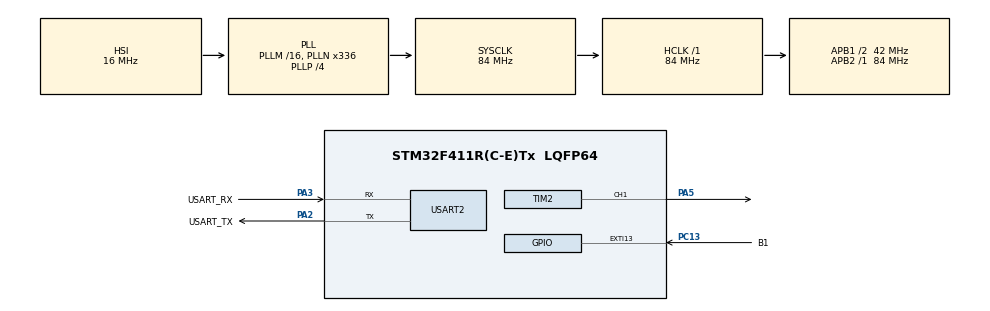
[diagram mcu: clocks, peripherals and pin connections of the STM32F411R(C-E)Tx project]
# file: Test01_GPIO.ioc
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Mcu.Family=STM32F4
Mcu.Name=STM32F411R(C-E)Tx
Mcu.Package=LQFP64
NVIC.EXTI15_10_IRQn=true\:0\:0\:false\:false\:true\:true\:true\:true
NVIC.PriorityGroup=NVIC_PRIORITYGROUP_0
NVIC.TIM3_IRQn=true\:0\:0\:false\:false\:true\:true\:true\:true
PA13.GPIO_Label=TMS
PA13.Mode=Serial_Wire
PA13.Signal=SYS_JTMS-SWDIO
PA14.GPIO_Label=TCK
PA14.Mode=Serial_Wire
PA14.Signal=SYS_JTCK-SWCLK
PA2.GPIO_Label=USART_TX
PA2.Mode=Asynchronous
PA2.Signal=USART2_TX
PA3.GPIO_Label=USART_RX
PA3.Mode=Asynchronous
PA3.Signal=USART2_RX
PA5.Signal=S_TIM2_CH1_ETR
PB3.GPIO_Label=SWO
PB3.Signal=SYS_JTDO-SWO
PC13-ANTI_TAMP.GPIO_Label=B1
PC13-ANTI_TAMP.GPIO_ModeDefaultEXTI=GPIO_MODE_IT_RISING_FALLING
PC13-ANTI_TAMP.Signal=GPXTI13
PC14-OSC32_IN.Mode=LSE-External-Oscillator
PC14-OSC32_IN.Signal=RCC_OSC32_IN
PC15-OSC32_OUT.Mode=LSE-External-Oscillator
PC15-OSC32_OUT.Signal=RCC_OSC32_OUT
PH0\ -\ OSC_IN.Mode=HSE-External-Clock-Source
PH0\ -\ OSC_IN.Signal=RCC_OSC_IN
PH1\ -\ OSC_OUT.Mode=HSE-External-Clock-Source
PH1\ -\ OSC_OUT.Signal=RCC_OSC_OUT
ProjectManager.HeapSize=0x200
ProjectManager.StackSize=0x400
ProjectManager.TargetToolchain=STM32CubeIDE
RCC.48MHZClocksFreq_Value=84000000
RCC.AHBFreq_Value=84000000
RCC.APB1CLKDivider=RCC_HCLK_DIV2
RCC.APB1Freq_Value=42000000
RCC.APB1TimFreq_Value=84000000
RCC.APB2Freq_Value=84000000
RCC.APB2TimFreq_Value=84000000
RCC.CortexFreq_Value=84000000
RCC.FLatency-AdvancedSettings=FLASH_LATENCY_2
RCC.HCLKFreq_Value=84000000
RCC.HSE_VALUE=8000000
RCC.HSI_VALUE=16000000
RCC.PLLN=336
RCC.PLLP=RCC_PLLP_DIV4
RCC.SYSCLKFreq_VALUE=84000000
RCC.SYSCLKSource=RCC_SYSCLKSOURCE_PLLCLK
RCC.VCOOutputFreq_Value=336000000
SH.S_TIM2_CH1_ETR.0=TIM2_CH1,PWM Generation1 CH1
TIM2.Channel-PWM\ Generation1\ CH1=TIM_CHANNEL_1
TIM2.Period=1000-1
TIM2.Prescaler=84-1
TIM3.Period=5000-1
TIM3.Prescaler=8400-1
TIM5.Prescaler=84-1
USART2.VirtualMode=VM_ASYNC
VP_TIM2_VS_ClockSourceINT.Mode=Internal
VP_TIM3_VS_ClockSourceINT.Mode=Internal
VP_TIM5_VS_ClockSourceINT.Mode=Internal
board=NUCLEO-F411RE

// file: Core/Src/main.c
/* USER CODE BEGIN Header */
/**
  ******************************************************************************
  * @file           : main.c
  * @brief          : Main program body
  ******************************************************************************
  * @attention
  *
  * Copyright (c) 2023 STMicroelectronics.
  * All rights reserved.
  *
  * This software is licensed under terms that can be found in the LICENSE file
  * in the root directory of this software component.
  * If no LICENSE file comes with this software, it is provided AS-IS.
  *
  ******************************************************************************
  */
/* USER CODE END Header */
#include "main.h"

TIM_HandleTypeDef htim2;
TIM_HandleTypeDef htim3;
TIM_HandleTypeDef htim5;

UART_HandleTypeDef huart2;

void SystemClock_Config(void);
static void MX_GPIO_Init(void);
static void MX_USART2_UART_Init(void);
static void MX_TIM3_Init(void);
static void MX_TIM5_Init(void);
static void MX_TIM2_Init(void);

/* USER CODE BEGIN 0 */
int val = 0;
int flag = 1;
int gap = 0; //gap is value about val that account ARR
#define STEP 10
void HAL_GPIO_EXTI_Callback(uint16_t GPIO_Pin)
{
	//val = HAL_GPIO_ReadPin(B1_GPIO_Port, B1_Pin);
	//if(val ==0) val=1; else val=0;
	//val = !val;
	//val++;//=	val += 1; //=	val = val+1;
	//if(val++>5) val=0;	//val 0~5
	//flag=1;
	if(val++ >STEP) val=0;
}
int cnt = 0;
void HAL_TIM_PeriodElapsedCallback(TIM_HandleTypeDef *htim)
{
//	HAL_GPIO_TogglePin(LD2_GPIO_Port, LD2_Pin);
//	HAL_Delay(1000);	//error
	printf("\033[10;30H Timer3...%d\n",cnt++);
}
void myDelay(int interval)//microsecond delay, interval:microsecond
{
//	volatile int start = htim5.Instance->CNT;
	htim5.Instance->CNT = 0;
	while(1)
	{
//		volatile int cur = htim5.Instance->CNT;
//		if(cur - start > interval) return;
//		if(htim5.Instance->CNT - start > interval) break;
		if(htim5.Instance->CNT > interval) return;
	}
}
int __io_putchar(int ch)
{
	HAL_UART_Transmit(&huart2, &ch, 1, 10);
	return ch;
}
//int __io_getchar(void)
/* USER CODE END 0 */

int main(void)
{

  /* MCU Configuration--------------------------------------------------------*/

  /* Reset of all peripherals, Initializes the Flash interface and the Systick. */
  HAL_Init();

  /* Configure the system clock */
  SystemClock_Config();

  /* Initialize all configured peripherals */
  MX_GPIO_Init();
  MX_USART2_UART_Init();
  MX_TIM3_Init();
  MX_TIM5_Init();
  MX_TIM2_Init();
  /* USER CODE BEGIN 2 */
//  HAL_TIM_Base_Start_IT(&htim3);
//  HAL_TIM_Base_Start_IT(&htim5);
  HAL_TIM_Base_Start(&htim5);
  printf("\033[10;20 H    Program started ......!\r\n",0x1b);
  HAL_TIM_PWM_Start(&htim2, TIM_CHANNEL_1);
  gap = htim2.Instance->ARR / STEP;
  /* USER CODE END 2 */

  /* Infinite loop */
  /* USER CODE BEGIN WHILE */
  int ccr = 0 ;
  while (1)
  {
    /* USER CODE END WHILE */

    /* USER CODE BEGIN 3 */
//	  int r = HAL_GPIO_ReadPin(BLUE_GPIO_Port, BLUE_Pin);
//	  if(r == 0)	//Button pushed
//	  if(val ==0)
//	  {
//		  HAL_GPIO_WritePin(LD2_GPIO_Port, LD2_Pin, 1);	//LED ON
//		  HAL_Delay(1000);								//delay 1 second
//		  HAL_GPIO_WritePin(LD2_GPIO_Port, LD2_Pin, 0);	//LED OFF
//		  HAL_Delay(1000);								//delay 1 second
//	  }
//	  if(flag == 1)
//	  {
//	  for(int i=0;i<val;i++)
//	  {
//		  HAL_GPIO_WritePin(LD2_GPIO_Port, LD2_Pin, 1);	//LED ON
//		  HAL_Delay(1000);								//delay 1 second
//		  HAL_GPIO_WritePin(LD2_GPIO_Port, LD2_Pin, 0);	//LED OFF
//		  HAL_Delay(1000);//delay 1 second
//		  flag = 0;
//	  }
//	  }
//	  if(val ==0)
//	  {
//	  //HAL_GPIO_WritePin(LD2_GPIO_Port, LD2_Pin, 1);	//LED ON
//		HAL_GPIO_TogglePin(LD2_GPIO_Port, LD2_Pin);
//		HAL_Delay(200);
//	  }
//	  else
//	  {
//	  HAL_GPIO_WritePin(LD2_GPIO_Port, LD2_Pin, 0);	//LED OFF
//	  }
////////////////////////////////////////////////////////////////////////////////////////////////////////////////
//	  myDelay(20000000);
//	  htim2.Instance->CCR1 = ccr++;
//	  if(ccr > htim2.Instance->ARR) ccr = 0;
//	  myDelay(10000);
	htim2.Instance->CCR1 = val * gap;
  }
  /* USER CODE END 3 */
}

void SystemClock_Config(void)
{
  RCC_OscInitTypeDef RCC_OscInitStruct = {0};
  RCC_ClkInitTypeDef RCC_ClkInitStruct = {0};

  /** Configure the main internal regulator output voltage
  */
  __HAL_RCC_PWR_CLK_ENABLE();
  __HAL_PWR_VOLTAGESCALING_CONFIG(PWR_REGULATOR_VOLTAGE_SCALE1);

  /** Initializes the RCC Oscillators according to the specified parameters
  * in the RCC_OscInitTypeDef structure.
  */
  RCC_OscInitStruct.OscillatorType = RCC_OSCILLATORTYPE_HSI;
  RCC_OscInitStruct.HSIState = RCC_HSI_ON;
  RCC_OscInitStruct.HSICalibrationValue = RCC_HSICALIBRATION_DEFAULT;
  RCC_OscInitStruct.PLL.PLLState = RCC_PLL_ON;
  RCC_OscInitStruct.PLL.PLLSource = RCC_PLLSOURCE_HSI;
  RCC_OscInitStruct.PLL.PLLM = 16;
  RCC_OscInitStruct.PLL.PLLN = 336;
  RCC_OscInitStruct.PLL.PLLP = RCC_PLLP_DIV4;
  RCC_OscInitStruct.PLL.PLLQ = 4;
  if (HAL_RCC_OscConfig(&RCC_OscInitStruct) != HAL_OK)
  {
    Error_Handler();
  }

  /** Initializes the CPU, AHB and APB buses clocks
  */
  RCC_ClkInitStruct.ClockType = RCC_CLOCKTYPE_HCLK|RCC_CLOCKTYPE_SYSCLK
                              |RCC_CLOCKTYPE_PCLK1|RCC_CLOCKTYPE_PCLK2;
  RCC_ClkInitStruct.SYSCLKSource = RCC_SYSCLKSOURCE_PLLCLK;
  RCC_ClkInitStruct.AHBCLKDivider = RCC_SYSCLK_DIV1;
  RCC_ClkInitStruct.APB1CLKDivider = RCC_HCLK_DIV2;
  RCC_ClkInitStruct.APB2CLKDivider = RCC_HCLK_DIV1;

  if (HAL_RCC_ClockConfig(&RCC_ClkInitStruct, FLASH_LATENCY_2) != HAL_OK)
  {
    Error_Handler();
  }
}

static void MX_TIM2_Init(void)
{

  TIM_ClockConfigTypeDef sClockSourceConfig = {0};
  TIM_MasterConfigTypeDef sMasterConfig = {0};
  TIM_OC_InitTypeDef sConfigOC = {0};

  htim2.Instance = TIM2;
  htim2.Init.Prescaler = 84-1;
  htim2.Init.CounterMode = TIM_COUNTERMODE_UP;
  htim2.Init.Period = 1000-1;
  htim2.Init.ClockDivision = TIM_CLOCKDIVISION_DIV1;
  htim2.Init.AutoReloadPreload = TIM_AUTORELOAD_PRELOAD_DISABLE;
  if (HAL_TIM_Base_Init(&htim2) != HAL_OK)
  {
    Error_Handler();
  }
  sClockSourceConfig.ClockSource = TIM_CLOCKSOURCE_INTERNAL;
  if (HAL_TIM_ConfigClockSource(&htim2, &sClockSourceConfig) != HAL_OK)
  {
    Error_Handler();
  }
  if (HAL_TIM_PWM_Init(&htim2) != HAL_OK)
  {
    Error_Handler();
  }
  sMasterConfig.MasterOutputTrigger = TIM_TRGO_RESET;
  sMasterConfig.MasterSlaveMode = TIM_MASTERSLAVEMODE_DISABLE;
  if (HAL_TIMEx_MasterConfigSynchronization(&htim2, &sMasterConfig) != HAL_OK)
  {
    Error_Handler();
  }
  sConfigOC.OCMode = TIM_OCMODE_PWM1;
  sConfigOC.Pulse = 0;
  sConfigOC.OCPolarity = TIM_OCPOLARITY_HIGH;
  sConfigOC.OCFastMode = TIM_OCFAST_DISABLE;
  if (HAL_TIM_PWM_ConfigChannel(&htim2, &sConfigOC, TIM_CHANNEL_1) != HAL_OK)
  {
    Error_Handler();
  }
  HAL_TIM_MspPostInit(&htim2);

}

static void MX_TIM3_Init(void)
{

  TIM_ClockConfigTypeDef sClockSourceConfig = {0};
  TIM_MasterConfigTypeDef sMasterConfig = {0};

  htim3.Instance = TIM3;
  htim3.Init.Prescaler = 8400-1;
  htim3.Init.CounterMode = TIM_COUNTERMODE_UP;
  htim3.Init.Period = 5000-1;
  htim3.Init.ClockDivision = TIM_CLOCKDIVISION_DIV1;
  htim3.Init.AutoReloadPreload = TIM_AUTORELOAD_PRELOAD_DISABLE;
  if (HAL_TIM_Base_Init(&htim3) != HAL_OK)
  {
    Error_Handler();
  }
  sClockSourceConfig.ClockSource = TIM_CLOCKSOURCE_INTERNAL;
  if (HAL_TIM_ConfigClockSource(&htim3, &sClockSourceConfig) != HAL_OK)
  {
    Error_Handler();
  }
  sMasterConfig.MasterOutputTrigger = TIM_TRGO_RESET;
  sMasterConfig.MasterSlaveMode = TIM_MASTERSLAVEMODE_DISABLE;
  if (HAL_TIMEx_MasterConfigSynchronization(&htim3, &sMasterConfig) != HAL_OK)
  {
    Error_Handler();
  }

}

static void MX_TIM5_Init(void)
{

  TIM_ClockConfigTypeDef sClockSourceConfig = {0};
  TIM_MasterConfigTypeDef sMasterConfig = {0};

  htim5.Instance = TIM5;
  htim5.Init.Prescaler = 84-1;
  htim5.Init.CounterMode = TIM_COUNTERMODE_UP;
  htim5.Init.Period = 4294967295;
  htim5.Init.ClockDivision = TIM_CLOCKDIVISION_DIV1;
  htim5.Init.AutoReloadPreload = TIM_AUTORELOAD_PRELOAD_DISABLE;
  if (HAL_TIM_Base_Init(&htim5) != HAL_OK)
  {
    Error_Handler();
  }
  sClockSourceConfig.ClockSource = TIM_CLOCKSOURCE_INTERNAL;
  if (HAL_TIM_ConfigClockSource(&htim5, &sClockSourceConfig) != HAL_OK)
  {
    Error_Handler();
  }
  sMasterConfig.MasterOutputTrigger = TIM_TRGO_RESET;
  sMasterConfig.MasterSlaveMode = TIM_MASTERSLAVEMODE_DISABLE;
  if (HAL_TIMEx_MasterConfigSynchronization(&htim5, &sMasterConfig) != HAL_OK)
  {
    Error_Handler();
  }

}

static void MX_USART2_UART_Init(void)
{

  huart2.Instance = USART2;
  huart2.Init.BaudRate = 115200;
  huart2.Init.WordLength = UART_WORDLENGTH_8B;
  huart2.Init.StopBits = UART_STOPBITS_1;
  huart2.Init.Parity = UART_PARITY_NONE;
  huart2.Init.Mode = UART_MODE_TX_RX;
  huart2.Init.HwFlowCtl = UART_HWCONTROL_NONE;
  huart2.Init.OverSampling = UART_OVERSAMPLING_16;
  if (HAL_UART_Init(&huart2) != HAL_OK)
  {
    Error_Handler();
  }

}

static void MX_GPIO_Init(void)
{
  GPIO_InitTypeDef GPIO_InitStruct = {0};

  /* GPIO Ports Clock Enable */
  __HAL_RCC_GPIOC_CLK_ENABLE();
  __HAL_RCC_GPIOH_CLK_ENABLE();
  __HAL_RCC_GPIOA_CLK_ENABLE();
  __HAL_RCC_GPIOB_CLK_ENABLE();

  /*Configure GPIO pin : B1_Pin */
  GPIO_InitStruct.Pin = B1_Pin;
  GPIO_InitStruct.Mode = GPIO_MODE_IT_RISING_FALLING;
  GPIO_InitStruct.Pull = GPIO_NOPULL;
  HAL_GPIO_Init(B1_GPIO_Port, &GPIO_InitStruct);

  /* EXTI interrupt init*/
  HAL_NVIC_SetPriority(EXTI15_10_IRQn, 0, 0);
  HAL_NVIC_EnableIRQ(EXTI15_10_IRQn);

}

void Error_Handler(void)
{
  __disable_irq();
  while (1)
  {
  }
}
